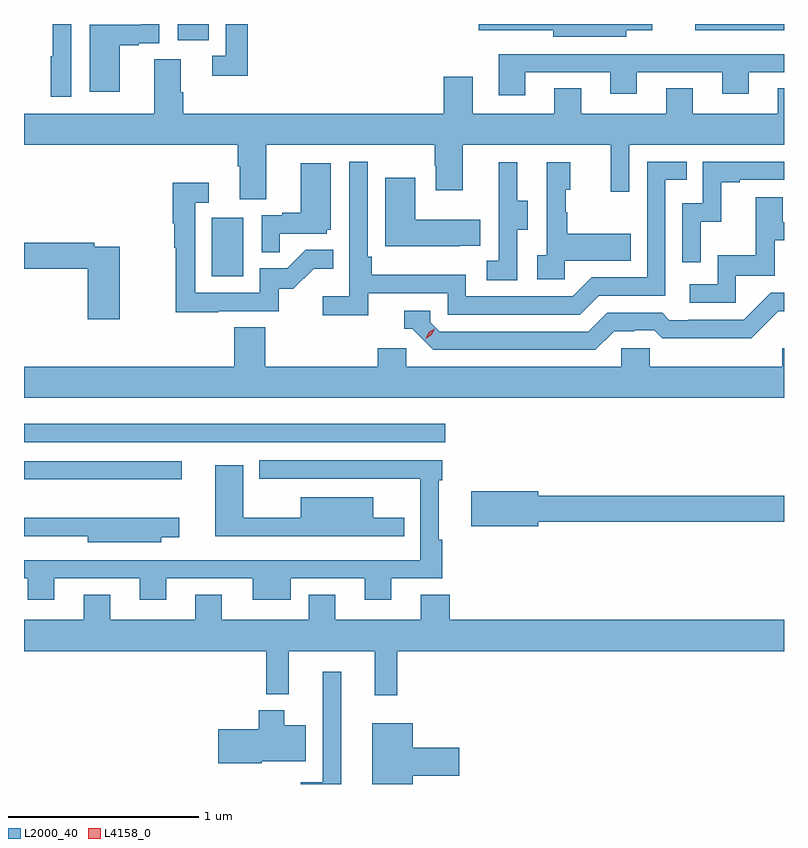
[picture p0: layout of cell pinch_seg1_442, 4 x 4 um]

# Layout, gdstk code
import gdstk
lib = gdstk.Library(unit=1e-6, precision=1e-09)
def R(c, l, rs):  # rectangles x0, y0, x1, y1
    for r in rs: c.add(gdstk.rectangle(r[:2], r[2:], *l))
def P(c, l, *ps):  # polygons
    for p in ps: c.add(gdstk.Polygon(p, *l))
L2000_40 = (2000, 40)
L4158_0 = (4158, 0)

pinch_seg1_442 = lib.new_cell('pinch_seg1_442')
R(pinch_seg1_442, L2000_40, [(981.291,521.999,982.12,522.096), (981.291,522.195,983.509,522.292), (982.28,523.068,982.444,523.375), (982.1,524.31,982.264,524.396), (984.825,524.364,985.291,524.396)])
P(pinch_seg1_442, L2000_40, [(981.796,524.283),(981.896,524.283),(981.896,524.295),(982.002,524.295),(982.002,524.396),(981.907,524.396),(981.907,524.391),(981.638,524.391),(981.638,524.04),(981.796,524.04)],
  [(984.46,524.364),(984.598,524.364),(984.598,524.396),(983.685,524.396),(983.685,524.364),(984.077,524.364),(984.077,524.33),(984.46,524.33)],
  [(981.54,524.396),(981.443,524.396),(981.443,524.225),(981.432,524.225),(981.432,524.013),(981.54,524.013)],
  [(982.469,524.396),(982.353,524.396),(982.353,524.229),(982.281,524.229),(982.281,524.124),(982.469,524.124)],
  [(983.929,524.142),(984.377,524.142),(984.377,524.03),(984.517,524.03),(984.517,524.142),(984.965,524.142),(984.965,524.03),(985.105,524.03),(985.105,524.142),(985.291,524.142),(985.291,524.238),(983.789,524.238),(983.789,524.022),(983.929,524.022)],
  [(982.567,523.76),(983.452,523.76),(983.452,523.649),(983.459,523.649),(983.459,523.52),(983.599,523.52),(983.599,523.76),(984.38,523.76),(984.38,523.512),(984.477,523.512),(984.477,523.76),(985.291,523.76),(985.291,524.057),(985.259,524.057),(985.259,523.924),(984.811,523.924),(984.811,524.057),(984.671,524.057),(984.671,523.924),(984.223,523.924),(984.223,524.057),(984.083,524.057),(984.083,523.924),(983.653,523.924),(983.653,524.119),(983.501,524.119),(983.501,523.924),(982.13,523.924),(982.13,524.036),(982.117,524.036),(982.117,524.21),(981.977,524.21),(981.977,523.924),(981.291,523.924),(981.291,523.76),(982.415,523.76),(982.415,523.648),(982.427,523.648),(982.427,523.474),(982.567,523.474)],
  [(983.102,522.978),(983.52,522.978),(983.52,522.867),(984.217,522.867),(984.316,522.966),(984.666,522.966),(984.666,523.575),(984.779,523.575),(984.779,523.671),(984.57,523.671),(984.57,523.062),(984.279,523.062),(984.18,522.963),(983.616,522.963),(983.616,523.075),(983.12,523.075),(983.12,523.171),(983.1,523.171),(983.1,523.672),(983.004,523.672),(983.004,522.964),(982.863,522.964),(982.863,522.862),(983.102,522.862)],
  [(984.852,523.355),(984.962,523.355),(984.962,523.563),(985.057,523.563),(985.057,523.575),(985.291,523.575),(985.291,523.671),(984.864,523.671),(984.864,523.452),(984.756,523.452),(984.756,523.143),(984.852,523.143)],
  [(983.886,523.312),(983.941,523.312),(983.941,523.467),(983.887,523.467),(983.887,523.669),(983.789,523.669),(983.789,523.455),(983.79,523.455),(983.79,523.151),(983.727,523.151),(983.727,523.048),(983.886,523.048)],
  [(984.138,523.151),(984.485,523.151),(984.485,523.291),(984.151,523.291),(984.151,523.406),(984.141,523.406),(984.141,523.524),(984.166,523.524),(984.166,523.669),(984.042,523.669),(984.042,523.178),(983.991,523.178),(983.991,523.053),(984.138,523.053)],
  [(982.637,523.293),(982.884,523.293),(982.884,523.314),(982.906,523.314),(982.906,523.663),(982.748,523.663),(982.748,523.402),(982.649,523.402),(982.649,523.389),(982.542,523.389),(982.542,523.195),(982.637,523.195)],
  [(983.585,523.229),(983.693,523.229),(983.693,523.366),(983.35,523.366),(983.35,523.588),(983.192,523.588),(983.192,523.226),(983.585,523.226)],
  [(982.313,522.885),(982.632,522.885),(982.632,523.002),(982.708,523.002),(982.815,523.109),(982.919,523.109),(982.919,523.208),(982.775,523.208),(982.677,523.11),(982.533,523.11),(982.533,522.981),(982.191,522.981),(982.191,523.455),(982.264,523.455),(982.264,523.561),(982.075,523.561),(982.075,523.348),(982.083,523.348),(982.083,523.218),(982.09,523.218),(982.09,522.88),(982.313,522.88)],
  [(985.038,523.071),(985.243,523.071),(985.243,523.257),(985.291,523.257),(985.291,523.353),(985.285,523.353),(985.285,523.483),(985.141,523.483),(985.141,523.18),(984.942,523.18),(984.942,523.026),(984.795,523.026),(984.795,522.93),(985.038,522.93)],
  [(981.796,523.224),(981.662,523.224),(981.662,523.244),(981.291,523.244),(981.291,523.108),(981.626,523.108),(981.626,522.843),(981.796,522.843)],
  [(984.397,522.78),(984.504,522.78),(984.504,522.783),(984.607,522.783),(984.649,522.741),(984.882,522.741),(984.882,522.743),(985.118,522.743),(985.26,522.885),(985.291,522.885),(985.291,522.981),(985.221,522.981),(985.08,522.84),(984.787,522.84),(984.787,522.837),(984.688,522.837),(984.649,522.876),(984.36,522.876),(984.261,522.777),(983.478,522.777),(983.43,522.825),(983.43,522.888),(983.291,522.888),(983.291,522.792),(983.334,522.792),(983.445,522.681),(984.298,522.681)],
  [(985.291,522.69),(985.283,522.69),(985.283,522.592),(984.585,522.592),(984.585,522.69),(984.435,522.69),(984.435,522.592),(983.304,522.592),(983.304,522.69),(983.153,522.69),(983.153,522.592),(982.562,522.592),(982.562,522.8),(982.397,522.8),(982.397,522.592),(981.291,522.592),(981.291,522.428),(985.291,522.428)],
  [(981.451,521.478),(981.899,521.478),(981.899,521.366),(982.039,521.366),(982.039,521.478),(982.496,521.478),(982.496,521.366),(982.696,521.366),(982.696,521.478),(983.084,521.478),(983.084,521.366),(983.224,521.366),(983.224,521.478),(983.492,521.478),(983.492,521.681),(983.473,521.681),(983.473,521.996),(983.492,521.996),(983.492,522.099),(982.529,522.099),(982.529,522.003),(983.376,522.003),(983.376,521.574),(981.291,521.574),(981.291,521.478),(981.311,521.478),(981.311,521.366),(981.451,521.366)],
  [(983.18,521.701),(983.291,521.701),(983.291,521.798),(983.128,521.798),(983.128,521.905),(982.748,521.905),(982.748,521.798),(982.444,521.798),(982.444,522.073),(982.298,522.073),(982.298,521.7),(982.852,521.7),(982.852,521.699),(983.18,521.699)],
  [(983.998,521.776),(985.291,521.776),(985.291,521.912),(983.998,521.912),(983.998,521.936),(983.646,521.936),(983.646,521.753),(983.998,521.753)],
  [(982.014,521.696),(982.108,521.696),(982.108,521.797),(981.73,521.797),(981.73,521.798),(981.291,521.798),(981.291,521.7),(981.626,521.7),(981.626,521.669),(982.014,521.669)],
  [(983.255,521.096),(985.291,521.096),(985.291,521.26),(983.531,521.26),(983.531,521.393),(983.378,521.393),(983.378,521.26),(982.93,521.26),(982.93,521.393),(982.79,521.393),(982.79,521.26),(982.333,521.26),(982.333,521.393),(982.193,521.393),(982.193,521.26),(981.745,521.26),(981.745,521.393),(981.605,521.393),(981.605,521.26),(981.291,521.26),(981.291,521.096),(982.567,521.096),(982.567,520.868),(982.685,520.868),(982.685,521.096),(983.138,521.096),(983.138,520.863),(983.255,520.863)],
  [(982.96,520.987),(982.863,520.987),(982.863,520.405),(982.748,520.405),(982.748,520.396),(982.96,520.396)],
  [(982.542,520.517),(982.774,520.517),(982.774,520.705),(982.66,520.705),(982.66,520.783),(982.526,520.783),(982.526,520.683),(982.314,520.683),(982.314,520.505),(982.542,520.505)],
  [(983.338,520.439),(983.581,520.439),(983.581,520.586),(983.338,520.586),(983.338,520.717),(983.123,520.717),(983.123,520.396),(983.338,520.396)])
P(pinch_seg1_442, L4158_0, [(983.405,522.74),(983.405,522.741),(983.422,522.773),(983.452,522.792),(983.453,522.792),(983.453,522.792),(983.436,522.76),(983.406,522.74)])

lib.write_gds('pinch_seg1_442.gds')
